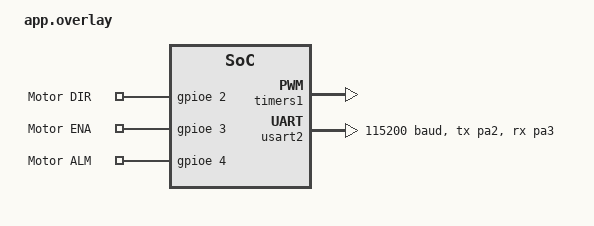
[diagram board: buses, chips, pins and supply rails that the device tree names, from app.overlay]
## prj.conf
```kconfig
# C++ support
CONFIG_CPP=y
CONFIG_STD_CPP17=y
CONFIG_REQUIRES_FLOAT_PRINTF=n
CONFIG_NEWLIB_LIBC=n

# Zephyr kernel features
CONFIG_MULTITHREADING=y
CONFIG_NUM_PREEMPT_PRIORITIES=16

# Message queues
CONFIG_HEAP_MEM_POOL_SIZE=0

# GPIO
CONFIG_GPIO=y

# PWM
CONFIG_PWM=y
CONFIG_PWM_STM32=y

# UART (async API)
CONFIG_SERIAL=y
CONFIG_UART_ASYNC_API=y
CONFIG_UART_STM32=y

# Ring buffer (for UART buffering)
CONFIG_RING_BUFFER=y

# Logging (via Zephyr LOG, not printf)
CONFIG_LOG=y
CONFIG_LOG_DEFAULT_LEVEL=3
CONFIG_LOG_BACKEND_RTT=n
CONFIG_LOG_BACKEND_UART=y

# Watchdog (optional safety)
CONFIG_WATCHDOG=n

# Disable unused features to reduce footprint
CONFIG_STDOUT_CONSOLE=n
CONFIG_PRINTK=y
CONFIG_ASSERT=y
```

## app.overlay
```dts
/*
 * Device Tree Overlay for Agriculture Robot - STM32F407VET
 *
 * Pin mapping:
 *   PA8  -> TIM1_CH1 -> PUL (step pulse to CL57C)
 *   PE2  -> GPIO OUT -> DIR (direction)
 *   PE3  -> GPIO OUT -> ENA (enable: HIGH=enable, LOW=disable)
 *   PE4  -> GPIO IN  -> ALM (alarm from CL57C, trigger on rising edge)
 *   PA2  -> USART2_TX -> CMD TX to master
 *   PA3  -> USART2_RX -> CMD RX from master
 */

/ {
    /*
     * Motor control GPIO pins grouped as a single node.
     * motor_hw reads these via DT_NODELABEL.
     */
    motor_gpios {
        compatible = "gpio-keys";
        status = "okay";

        motor_dir: motor_dir {
            gpios = <&gpioe 2 GPIO_ACTIVE_HIGH>;
            label = "Motor DIR";
        };

        motor_ena: motor_ena {
            gpios = <&gpioe 3 GPIO_ACTIVE_HIGH>;
            label = "Motor ENA";
        };

        motor_alm: motor_alm {
            gpios = <&gpioe 4 (GPIO_ACTIVE_HIGH | GPIO_PULL_DOWN)>;
            label = "Motor ALM";
        };
    };

    chosen {
        zephyr,console = &usart2;
        zephyr,shell-uart = &usart2;
    };
};

/* TIM1 CH1 on PA8 - Step pulse output (PWM) */
&timers1 {
    status = "okay";
    /* Prescaler: 168MHz / (167+1) = 1MHz -> 1us resolution */
    st,prescaler = <167>;

    pwm1: pwm {
        status = "okay";
        pinctrl-0 = <&tim1_ch1_pa8>;
        pinctrl-names = "default";
        #pwm-cells = <3>;
    };
};

/* USART2 on PA2/PA3 for communication with master */
&usart2 {
    status = "okay";
    current-speed = <115200>;
    pinctrl-0 = <&usart2_tx_pa2 &usart2_rx_pa3>;
    pinctrl-names = "default";
};
```

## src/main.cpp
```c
#include "motor_task.h"
#include "cmd_task.h"

#include <zephyr/kernel.h>
#include <zephyr/logging/log.h>

LOG_MODULE_REGISTER(main, LOG_LEVEL_INF);

/*
 * Static task instances - no heap allocation.
 * Constructed at startup before main() in C++ static init order.
 */
static MotorTask g_MotorTask;
static CmdTask   g_CmdTask(&g_MotorTask);

/*
 * Static thread stacks and thread control blocks.
 * K_THREAD_DEFINE registers the thread with the Zephyr scheduler.
 * Thread functions are C-linkage trampolines defined in each task file.
 */
K_THREAD_DEFINE(motorThread,
                MOTOR_TASK_STACK_SIZE,
                MotorTask_ThreadEntry,
                NULL, NULL, NULL,
                MOTOR_TASK_PRIORITY,
                0,
                0);

K_THREAD_DEFINE(cmdThread,
                CMD_TASK_STACK_SIZE,
                CmdTask_ThreadEntry,
                NULL, NULL, NULL,
                CMD_TASK_PRIORITY,
                0,
                0);

int main(void)
{
    LOG_INF("Agriculture Robot starting...");

    int ret = g_MotorTask.Init();
    if (ret < 0) {
        LOG_ERR("MotorTask init failed: %d", ret);
        return ret;
    }

    ret = g_CmdTask.Init();
    if (ret < 0) {
        LOG_ERR("CmdTask init failed: %d", ret);
        return ret;
    }

    LOG_INF("All tasks initialized - system running");
    return 0;
}
```
